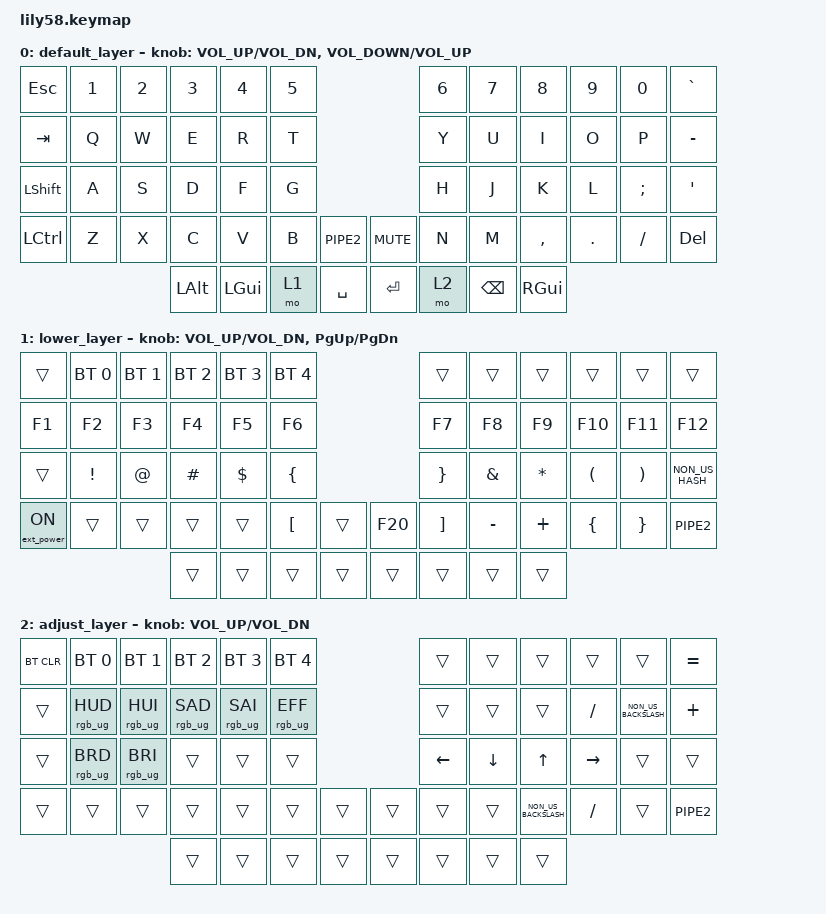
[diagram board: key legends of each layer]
/*
 * Copyright (c) 2020 The ZMK Contributors
 *
 * SPDX-License-Identifier: MIT
 */

#include <behaviors.dtsi>
#include <dt-bindings/zmk/bt.h>
#include <dt-bindings/zmk/ext_power.h>
#include <dt-bindings/zmk/keys.h>
#include <dt-bindings/zmk/rgb.h>

/ {
    // Activate ADJUST layer by pressing raise and lower

    conditional_layers {
        compatible = "zmk,conditional-layers";

        adjust_layer {
            if-layers = <1 2>;
            then-layer = <3>;
        };
    };

    keymap {
        compatible = "zmk,keymap";

        default_layer {
            // ------------------------------------------------------------------------------------------------------------
            // |  ESC  |  1  |  2  |  3   |  4   |  5   |                   |  6   |  7    |  8    |  9   |   0   |   `   |
            // |  TAB  |  Q  |  W  |  E   |  R   |  T   |                   |  Y   |  U    |  I    |  O   |   P   |   -   |
            // |  CTRL |  A  |  S  |  D   |  F   |  G   |                   |  H   |  J    |  K    |  L   |   ;   |   '   |
            // | SHIFT |  Z  |  X  |  C   |  V   |  B   |  MUTE  |  |RGB_TOG|  N   |  M    |  ,    |  .   |   /   | SHIFT |
            //                     | ALT  | GUI  | LOWER|  SPACE |  | ENTER | RAISE| BSPC  | GUI   |

            bindings = <
&kp ESC         &kp N1  &kp N2  &kp N3    &kp N4    &kp N5                           &kp N6  &kp N7    &kp N8     &kp N9   &kp N0    &kp GRAVE
&kp TAB         &kp Q   &kp W   &kp E     &kp R     &kp T                            &kp Y   &kp U     &kp I      &kp O    &kp P     &kp MINUS
&kp LEFT_SHIFT  &kp A   &kp S   &kp D     &kp F     &kp G                            &kp H   &kp J     &kp K      &kp L    &kp SEMI  &kp SQT
&kp LCTRL       &kp Z   &kp X   &kp C     &kp V     &kp B   &kp PIPE2    &kp C_MUTE  &kp N   &kp M     &kp COMMA  &kp DOT  &kp FSLH  &kp DELETE
                                &kp LALT  &kp LGUI  &mo 1   &kp SPACE    &kp RET     &mo 2   &kp BSPC  &kp RGUI
            >;

            sensor-bindings =
                <&inc_dec_kp C_VOL_UP C_VOL_DN>,
                <&inc_dec_kp C_VOLUME_DOWN C_VOLUME_UP>;
        };

        lower_layer {
            // ------------------------------------------------------------------------------------------------------------
            // | BTCLR | BT1 | BT2 |  BT3 |  BT4 |  BT5 |                   |      |       |       |      |       |       |
            // |  F1   |  F2 |  F3 |  F4  |  F5  |  F6  |                   |  F7  |  F8   |  F9   |  F10 |  F11  |  F12  |
            // |   `   |  !  |  @  |  #   |  $   |  %   |                   |  ^   |  &    |  *    |  (   |   )   |   ~   |
            // |EXTPWR |     |     |      |      |      |        |  |       |      |  _    |  +    |  {   |   }   |  "|"  |
            //                     |      |      |      |        |  |       |      |       |       |

            bindings = <
&trans            &bt BT_SEL 0  &bt BT_SEL 1  &bt BT_SEL 2  &bt BT_SEL 3  &bt BT_SEL 4                         &trans             &trans     &trans     &trans    &trans    &trans
&kp F1            &kp F2        &kp F3        &kp F4        &kp F5        &kp F6                               &kp F7             &kp F8     &kp F9     &kp F10   &kp F11   &kp F12
&trans            &kp EXCL      &kp AT        &kp HASH      &kp DOLLAR    &kp LEFT_BRACE                       &kp RIGHT_BRACE    &kp AMPS   &kp ASTRK  &kp LPAR  &kp RPAR  &kp NON_US_HASH
&ext_power EP_ON  &trans        &trans        &trans        &trans        &kp LEFT_BRACKET  &trans    &kp F20  &kp RIGHT_BRACKET  &kp MINUS  &kp PLUS   &kp LBRC  &kp RBRC  &kp PIPE2
                                              &trans        &trans        &trans            &trans    &trans   &trans             &trans     &trans
            >;

            sensor-bindings = <&inc_dec_kp C_VOL_UP C_VOL_DN &inc_dec_kp PG_UP PG_DN>;
        };

        adjust_layer {
            // ----------------------------------------------------------------------------------------------------------------------------
            // | BTCLR  |  BT1    |  BT2    |   BT3   |   BT4   |   BT5   |                  |      |      |       |      |       |       |
            // | EXTPWR | RGB_HUD | RGB_HUI | RGB_SAD | RGB_SAI | RGB_EFF |                  |      |      |       |      |       |       |
            // |        | RGB_BRD | RGB_BRI |         |         |         |                  |      |      |       |      |       |       |
            // |        |         |         |         |         |         | RGB_TOG | |      |      |      |       |      |       |       |
            //                    |         |         |         |         |         | |      |      |      |       |      |

            bindings = <
&bt BT_CLR  &bt BT_SEL 0     &bt BT_SEL 1     &bt BT_SEL 2     &bt BT_SEL 3     &bt BT_SEL 4                       &trans          &trans          &trans                &trans           &trans                &kp EQUAL
&trans      &rgb_ug RGB_HUD  &rgb_ug RGB_HUI  &rgb_ug RGB_SAD  &rgb_ug RGB_SAI  &rgb_ug RGB_EFF                    &trans          &trans          &trans                &kp SLASH        &kp NON_US_BACKSLASH  &kp PLUS
&trans      &rgb_ug RGB_BRD  &rgb_ug RGB_BRI  &trans           &trans           &trans                             &kp LEFT_ARROW  &kp DOWN_ARROW  &kp UP_ARROW          &kp RIGHT_ARROW  &trans                &trans
&trans      &trans           &trans           &trans           &trans           &trans           &trans    &trans  &trans          &trans          &kp NON_US_BACKSLASH  &kp SLASH        &trans                &kp PIPE2
                                              &trans           &trans           &trans           &trans    &trans  &trans          &trans          &trans
            >;

            sensor-bindings = <&inc_dec_kp C_VOL_UP C_VOL_DN>;
        };

        extra1 { status = "reserved"; };

        extra2 { status = "reserved"; };

        extra3 { status = "reserved"; };

        extra4 { status = "reserved"; };

        extra5 { status = "reserved"; };
    };
};
